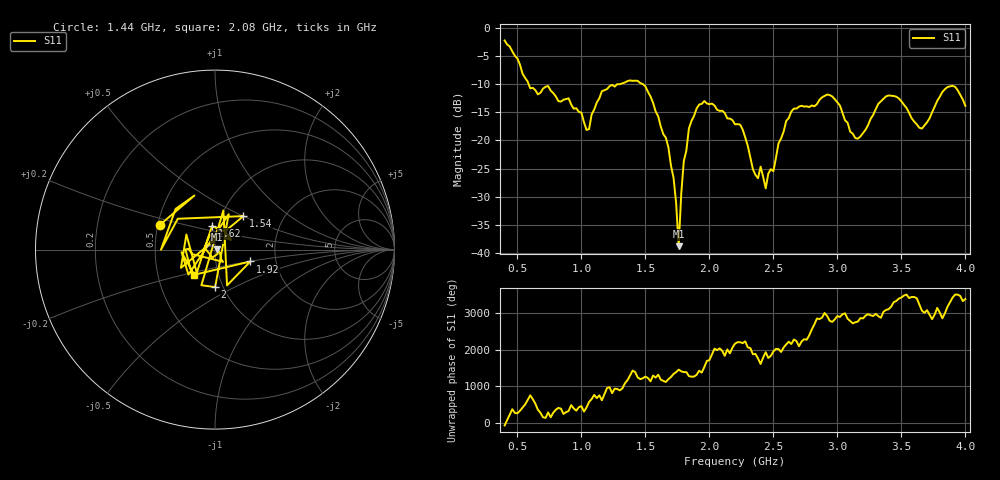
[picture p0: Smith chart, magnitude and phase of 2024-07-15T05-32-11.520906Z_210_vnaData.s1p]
!Created with skrf (http://scikit-rf.org).
# Hz S RI R 50.0
!freq ReS11 ImS11
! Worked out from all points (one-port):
!   181 points, 400 MHz to 4 GHz, reference 50 ohm
!   lowest |S11| = -38.8 dB at 1.76 GHz (marker M1), VSWR 1.02, Z = 51.1 + j0.192 ohm
!   |S11| at or under -10 dB: 587.2 MHz to 1.305 GHz (717.9 MHz wide, 75.9 % of centre); 1.478 GHz to end of sweep
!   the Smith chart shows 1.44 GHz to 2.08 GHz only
!   S11 on the Smith chart (normalised r, x): 1.44 GHz: 0.51, +0.16; 1.54 GHz: 1.26, +0.50; 1.62 GHz: 0.93, +0.25; 1.92 GHz: 1.47, -0.20; 2 GHz: 0.92, -0.40; 2.08 GHz: 0.77, -0.23
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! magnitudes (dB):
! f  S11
! 400 MHz  -2.3
! 600 MHz  -10.8
! 860 MHz  -12.8
! 1.04 GHz  -18.2
! 1.16 GHz  -11.3
! 1.3 GHz  -10.0
! 1.44 GHz  -9.5
! 1.54 GHz  -12.2
! 1.62 GHz  -17.5
! 1.72 GHz  -26.7
! 1.76 GHz  -38.8
! 1.8 GHz  -23.7
! 1.84 GHz  -17.9
! 1.92 GHz  -13.6
! 2 GHz  -13.6
! 2.08 GHz  -14.8
! 2.2 GHz  -17.2
! 2.4 GHz  -24.7
! 2.44 GHz  -28.5
! 2.66 GHz  -14.4
! 2.94 GHz  -12.0
! 3.1 GHz  -18.5
! 3.18 GHz  -19.3
! 3.4 GHz  -12.0
! 3.56 GHz  -15.1
! 3.66 GHz  -17.9
! 3.9 GHz  -10.3
! 4 GHz  -13.9
